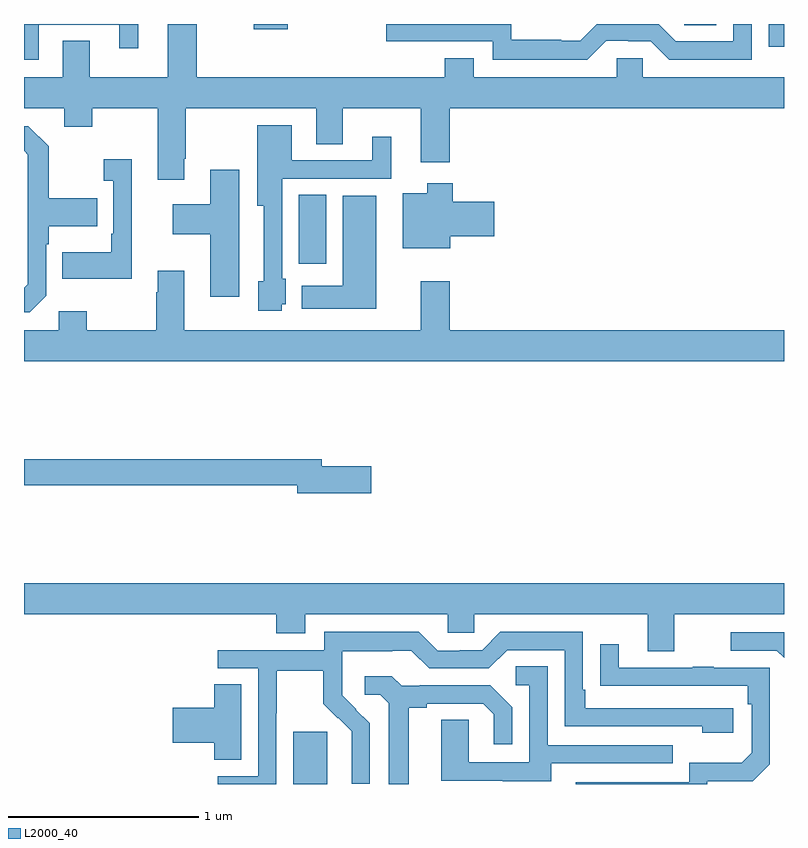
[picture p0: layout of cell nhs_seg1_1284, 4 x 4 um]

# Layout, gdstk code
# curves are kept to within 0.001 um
import gdstk
lib = gdstk.Library(unit=1e-6, precision=1e-09)
def R(c, l, rs):  # rectangles x0, y0, x1, y1
    for r in rs: c.add(gdstk.rectangle(r[:2], r[2:], *l))
def P(c, l, *ps):  # polygons
    for p in ps: c.add(gdstk.Polygon(p, *l))
L2000_40 = (2000, 40)

nhs_seg1_1284 = lib.new_cell('nhs_seg1_1284')
R(nhs_seg1_1284, L2000_40, [(182.417,524.199,182.596,524.475), (182.447,526.938,182.59,527.3), (184.921,528.078,185,528.199), (182.209,528.171,182.387,528.199), (184.476,528.193,184.644,528.199)])
P(nhs_seg1_1284, L2000_40, [(181.078,528.195),(181.502,528.195),(181.502,528.072),(181.6,528.072),(181.6,528.199),(181,528.199),(181,528.011),(181.078,528.011)],
  [(184.065,528.111),(184.181,528.111),(184.181,528.108),(184.299,528.108),(184.395,528.012),(184.83,528.012),(184.83,528.199),(184.734,528.199),(184.734,528.108),(184.431,528.108),(184.34,528.199),(184.015,528.199),(183.927,528.111),(183.827,528.111),(183.827,528.115),(183.564,528.115),(183.564,528.199),(182.907,528.199),(182.907,528.108),(183.468,528.108),(183.468,528.011),(183.965,528.011)],
  [(181.205,527.92),(181,527.92),(181,527.756),(181.211,527.756),(181.211,527.657),(181.359,527.657),(181.359,527.756),(181.703,527.756),(181.703,527.379),(181.843,527.379),(181.843,527.491),(181.851,527.491),(181.851,527.756),(182.537,527.756),(182.537,527.566),(182.677,527.566),(182.677,527.756),(183.089,527.756),(183.089,527.472),(183.242,527.472),(183.242,527.756),(185,527.756),(185,527.92),(184.257,527.92),(184.257,528.018),(184.119,528.018),(184.119,527.92),(183.367,527.92),(183.367,528.019),(183.215,528.019),(183.215,527.92),(181.91,527.92),(181.91,528.199),(181.757,528.199),(181.757,527.92),(181.345,527.92),(181.345,528.11),(181.205,528.11)],
  [(182.356,526.725),(182.377,526.725),(182.377,526.857),(182.358,526.857),(182.358,527.385),(182.932,527.385),(182.932,527.605),(182.834,527.605),(182.834,527.481),(182.41,527.481),(182.41,527.665),(182.228,527.665),(182.228,527.243),(182.262,527.243),(182.262,526.845),(182.234,526.845),(182.234,526.691),(182.356,526.691)],
  [(181.116,526.77),(181.116,527.039),(181.129,527.039),(181.129,527.135),(181.385,527.135),(181.385,527.283),(181.129,527.283),(181.129,527.555),(181.023,527.661),(181,527.661),(181,527.531),(181.02,527.511),(181.02,526.83),(181,526.81),(181,526.683),(181.029,526.683)],
  [(181.568,527.488),(181.419,527.488),(181.419,527.375),(181.47,527.375),(181.47,527.095),(181.458,527.095),(181.458,526.999),(181.201,526.999),(181.201,526.859),(181.568,526.859)],
  [(182.134,527.431),(181.979,527.431),(181.979,527.251),(181.782,527.251),(181.782,527.093),(181.979,527.093),(181.979,526.764),(182.134,526.764)],
  [(183.244,527.081),(183.475,527.081),(183.475,527.264),(183.257,527.264),(183.257,527.362),(183.122,527.362),(183.122,527.308),(182.993,527.308),(182.993,527.018),(183.244,527.018)],
  [(182.854,527.296),(182.678,527.296),(182.678,526.822),(182.462,526.822),(182.462,526.7),(182.854,526.7)],
  [(185,526.588),(183.242,526.588),(183.242,526.846),(183.089,526.846),(183.089,526.588),(181.843,526.588),(181.843,526.9),(181.703,526.9),(181.703,526.787),(181.696,526.787),(181.696,526.588),(181.329,526.588),(181.329,526.687),(181.182,526.687),(181.182,526.588),(181,526.588),(181,526.424),(185,526.424)],
  [(182.827,525.872),(182.566,525.872),(182.566,525.908),(181,525.908),(181,525.772),(182.438,525.772),(182.438,525.73),(182.827,525.73)],
  [(184.423,525.092),(185,525.092),(185,525.256),(181,525.256),(181,525.092),(182.327,525.092),(182.327,524.993),(182.479,524.993),(182.479,525.092),(183.231,525.092),(183.231,524.994),(183.369,524.994),(183.369,525.092),(184.283,525.092),(184.283,524.898),(184.423,524.898)],
  [(182.328,524.572),(182.331,524.572),(182.331,524.796),(182.575,524.796),(182.575,524.621),(182.652,524.544),(182.655,524.547),(182.726,524.477),(182.726,524.354),(182.724,524.354),(182.724,524.2),(182.82,524.2),(182.82,524.518),(182.674,524.666),(182.674,524.763),(182.676,524.763),(182.676,524.897),(182.939,524.897),(182.939,524.901),(183.039,524.901),(183.132,524.808),(183.447,524.808),(183.543,524.904),(183.846,524.904),(183.846,524.502),(184.571,524.502),(184.571,524.468),(184.732,524.468),(184.732,524.598),(183.955,524.598),(183.955,524.695),(183.942,524.695),(183.942,525),(183.507,525),(183.411,524.904),(183.293,524.904),(183.293,524.901),(183.177,524.901),(183.077,525.001),(182.58,525.001),(182.58,524.904),(182.019,524.904),(182.019,524.808),(182.232,524.808),(182.232,524.241),(182.019,524.241),(182.019,524.199),(182.328,524.199)],
  [(185,524.997),(184.719,524.997),(184.719,524.901),(184.962,524.901),(185,524.863)],
  [(184.596,524.214),(184.836,524.214),(184.926,524.304),(184.926,524.811),(184.631,524.811),(184.631,524.816),(184.519,524.816),(184.519,524.811),(184.129,524.811),(184.129,524.935),(184.033,524.935),(184.033,524.716),(184.81,524.715),(184.81,524.618),(184.83,524.618),(184.83,524.364),(184.777,524.311),(184.5,524.311),(184.5,524.208),(183.905,524.208),(183.905,524.199),(184.596,524.199)],
  [(183.775,524.307),(184.415,524.307),(184.415,524.403),(183.756,524.403),(183.756,524.819),(183.588,524.819),(183.588,524.718),(183.66,524.718),(183.66,524.313),(183.342,524.313),(183.342,524.537),(183.197,524.537),(183.197,524.217),(183.521,524.217),(183.521,524.213),(183.775,524.213)],
  [(183.025,524.6),(183.121,524.6),(183.121,524.622),(183.416,524.622),(183.473,524.565),(183.473,524.409),(183.57,524.409),(183.57,524.602),(183.454,524.718),(183.082,524.718),(183.082,524.715),(182.988,524.715),(182.936,524.767),(182.793,524.767),(182.793,524.67),(182.874,524.67),(182.921,524.623),(182.921,524.199),(183.025,524.199)],
  [(182.143,524.723),(182,524.723),(182,524.6),(181.782,524.6),(181.782,524.417),(182,524.417),(182,524.326),(182.143,524.326)])

lib.write_gds('nhs_seg1_1284.gds')
